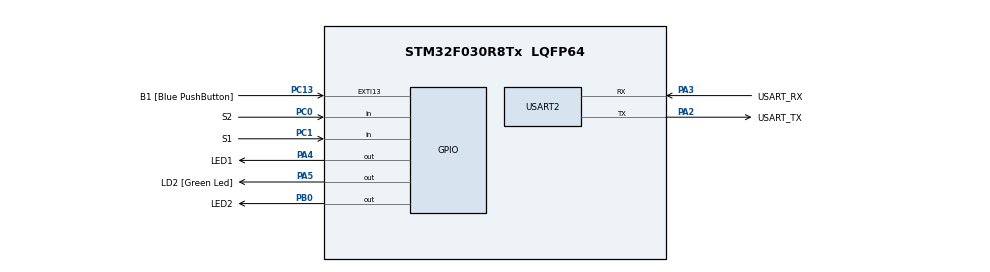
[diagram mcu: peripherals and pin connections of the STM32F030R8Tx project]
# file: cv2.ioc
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Mcu.Family=STM32F0
Mcu.Name=STM32F030R8Tx
Mcu.Package=LQFP64
PA13.GPIO_Label=TMS
PA13.Mode=Serial_Wire
PA13.Signal=SYS_SWDIO
PA14.GPIO_Label=TCK
PA14.Mode=Serial_Wire
PA14.Signal=SYS_SWCLK
PA2.GPIO_Label=USART_TX
PA2.GPIO_Mode=GPIO_MODE_AF_PP
PA2.GPIO_PuPd=GPIO_NOPULL
PA2.GPIO_Speed=GPIO_SPEED_FREQ_LOW
PA2.Mode=Asynchronous
PA2.Signal=USART2_TX
PA3.GPIO_Label=USART_RX
PA3.GPIO_Mode=GPIO_MODE_AF_PP
PA3.GPIO_PuPd=GPIO_NOPULL
PA3.GPIO_Speed=GPIO_SPEED_FREQ_LOW
PA3.Mode=Asynchronous
PA3.Signal=USART2_RX
PA4.GPIO_Label=LED1
PA4.Signal=GPIO_Output
PA5.GPIO_Label=LD2 [Green Led]
PA5.GPIO_Mode=GPIO_MODE_OUTPUT_PP
PA5.GPIO_PuPd=GPIO_NOPULL
PA5.GPIO_Speed=GPIO_SPEED_FREQ_LOW
PA5.Signal=GPIO_Output
PB0.GPIO_Label=LED2
PB0.Signal=GPIO_Output
PC0.GPIO_Label=S2
PC0.GPIO_PuPd=GPIO_PULLUP
PC0.Signal=GPIO_Input
PC1.GPIO_Label=S1
PC1.GPIO_PuPd=GPIO_PULLUP
PC1.Signal=GPIO_Input
PC13.GPIO_Label=B1 [Blue PushButton]
PC13.GPIO_ModeDefaultEXTI=GPIO_MODE_IT_FALLING
PC13.GPIO_PuPd=GPIO_PULLUP
PC13.Signal=GPXTI13
PC14-OSC32_IN.Mode=LSE-External-Oscillator
PC14-OSC32_IN.Signal=RCC_OSC32_IN
PC15-OSC32_OUT.Mode=LSE-External-Oscillator
PC15-OSC32_OUT.Signal=RCC_OSC32_OUT
PF0-OSC_IN.Mode=HSE-External-Clock-Source
PF0-OSC_IN.Signal=RCC_OSC_IN
PF1-OSC_OUT.Signal=RCC_OSC_OUT
ProjectManager.HeapSize=0x200
ProjectManager.StackSize=0x400
ProjectManager.TargetToolchain=STM32CubeIDE
RCC.AHBFreq_Value=48000000
RCC.APB1Freq_Value=48000000
RCC.APB1TimFreq_Value=48000000
RCC.HCLKFreq_Value=48000000
RCC.PLLMUL=RCC_PLL_MUL12
RCC.SYSCLKFreq_VALUE=48000000
RCC.SYSCLKSource=RCC_SYSCLKSOURCE_PLLCLK
USART2.VirtualMode-Asynchronous=VM_ASYNC
board=NUCLEO-F030R8

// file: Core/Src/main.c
/* USER CODE BEGIN Header */
/**
  ******************************************************************************
  * @file           : main.c
  * @brief          : Main program body
  ******************************************************************************
  * @attention
  *
  * Copyright (c) 2023 STMicroelectronics.
  * All rights reserved.
  *
  * This software is licensed under terms that can be found in the LICENSE file
  * in the root directory of this software component.
  * If no LICENSE file comes with this software, it is provided AS-IS.
  *
  ******************************************************************************
  */
/* USER CODE END Header */
#include "main.h"

/* USER CODE BEGIN PD */
#define LED_TIME_BLINK 300
#define LED_TIME_SHORT 100
#define LED_TIME_LONG 1000
/* USER CODE END PD */

void SystemClock_Config(void);
static void MX_GPIO_Init(void);
static void MX_USART2_UART_Init(void);

/* USER CODE BEGIN 0 */
volatile uint32_t Tick;
/* USER CODE END 0 */

int main(void)
{

  /* MCU Configuration--------------------------------------------------------*/

  /* Reset of all peripherals, Initializes the Flash interface and the Systick. */
  LL_APB1_GRP2_EnableClock(LL_APB1_GRP2_PERIPH_SYSCFG);
  LL_APB1_GRP1_EnableClock(LL_APB1_GRP1_PERIPH_PWR);

  /* Configure the system clock */
  SystemClock_Config();

  /* Initialize all configured peripherals */
  MX_GPIO_Init();
  MX_USART2_UART_Init();
  /* USER CODE BEGIN 2 */
  LL_SYSTICK_EnableIT();
  /* USER CODE END 2 */

  /* Infinite loop */
  /* USER CODE BEGIN WHILE */
  while (1)
  {

	  blikac();
	  tlacitko();
    /* USER CODE END WHILE */

  }
}

void SystemClock_Config(void)
{
  LL_FLASH_SetLatency(LL_FLASH_LATENCY_1);
  while(LL_FLASH_GetLatency() != LL_FLASH_LATENCY_1)
  {
  }
  LL_RCC_HSI_Enable();

   /* Wait till HSI is ready */
  while(LL_RCC_HSI_IsReady() != 1)
  {

  }
  LL_RCC_HSI_SetCalibTrimming(16);
  LL_RCC_PLL_ConfigDomain_SYS(LL_RCC_PLLSOURCE_HSI_DIV_2, LL_RCC_PLL_MUL_12);
  LL_RCC_PLL_Enable();

   /* Wait till PLL is ready */
  while(LL_RCC_PLL_IsReady() != 1)
  {

  }
  LL_RCC_SetAHBPrescaler(LL_RCC_SYSCLK_DIV_1);
  LL_RCC_SetAPB1Prescaler(LL_RCC_APB1_DIV_1);
  LL_RCC_SetSysClkSource(LL_RCC_SYS_CLKSOURCE_PLL);

   /* Wait till System clock is ready */
  while(LL_RCC_GetSysClkSource() != LL_RCC_SYS_CLKSOURCE_STATUS_PLL)
  {

  }
  LL_Init1msTick(48000000);
  LL_SetSystemCoreClock(48000000);
}

static void MX_USART2_UART_Init(void)
{

  LL_USART_InitTypeDef USART_InitStruct = {0};

  LL_GPIO_InitTypeDef GPIO_InitStruct = {0};

  /* Peripheral clock enable */
  LL_APB1_GRP1_EnableClock(LL_APB1_GRP1_PERIPH_USART2);

  LL_AHB1_GRP1_EnableClock(LL_AHB1_GRP1_PERIPH_GPIOA);
  /**USART2 GPIO Configuration
  PA2   ------> USART2_TX
  PA3   ------> USART2_RX
  */
  GPIO_InitStruct.Pin = USART_TX_Pin;
  GPIO_InitStruct.Mode = LL_GPIO_MODE_ALTERNATE;
  GPIO_InitStruct.Speed = LL_GPIO_SPEED_FREQ_LOW;
  GPIO_InitStruct.OutputType = LL_GPIO_OUTPUT_PUSHPULL;
  GPIO_InitStruct.Pull = LL_GPIO_PULL_NO;
  GPIO_InitStruct.Alternate = LL_GPIO_AF_1;
  LL_GPIO_Init(USART_TX_GPIO_Port, &GPIO_InitStruct);

  GPIO_InitStruct.Pin = USART_RX_Pin;
  GPIO_InitStruct.Mode = LL_GPIO_MODE_ALTERNATE;
  GPIO_InitStruct.Speed = LL_GPIO_SPEED_FREQ_LOW;
  GPIO_InitStruct.OutputType = LL_GPIO_OUTPUT_PUSHPULL;
  GPIO_InitStruct.Pull = LL_GPIO_PULL_NO;
  GPIO_InitStruct.Alternate = LL_GPIO_AF_1;
  LL_GPIO_Init(USART_RX_GPIO_Port, &GPIO_InitStruct);

  USART_InitStruct.BaudRate = 38400;
  USART_InitStruct.DataWidth = LL_USART_DATAWIDTH_8B;
  USART_InitStruct.StopBits = LL_USART_STOPBITS_1;
  USART_InitStruct.Parity = LL_USART_PARITY_NONE;
  USART_InitStruct.TransferDirection = LL_USART_DIRECTION_TX_RX;
  USART_InitStruct.HardwareFlowControl = LL_USART_HWCONTROL_NONE;
  USART_InitStruct.OverSampling = LL_USART_OVERSAMPLING_16;
  LL_USART_Init(USART2, &USART_InitStruct);
  LL_USART_DisableIT_CTS(USART2);
  LL_USART_ConfigAsyncMode(USART2);
  LL_USART_Enable(USART2);

}

static void MX_GPIO_Init(void)
{
  LL_EXTI_InitTypeDef EXTI_InitStruct = {0};
  LL_GPIO_InitTypeDef GPIO_InitStruct = {0};

  /* GPIO Ports Clock Enable */
  LL_AHB1_GRP1_EnableClock(LL_AHB1_GRP1_PERIPH_GPIOC);
  LL_AHB1_GRP1_EnableClock(LL_AHB1_GRP1_PERIPH_GPIOF);
  LL_AHB1_GRP1_EnableClock(LL_AHB1_GRP1_PERIPH_GPIOA);
  LL_AHB1_GRP1_EnableClock(LL_AHB1_GRP1_PERIPH_GPIOB);

  /**/
  LL_GPIO_ResetOutputPin(LED1_GPIO_Port, LED1_Pin);

  /**/
  LL_GPIO_ResetOutputPin(LD2_GPIO_Port, LD2_Pin);

  /**/
  LL_GPIO_ResetOutputPin(LED2_GPIO_Port, LED2_Pin);

  /**/
  LL_SYSCFG_SetEXTISource(LL_SYSCFG_EXTI_PORTC, LL_SYSCFG_EXTI_LINE13);

  /**/
  LL_GPIO_SetPinPull(B1_GPIO_Port, B1_Pin, LL_GPIO_PULL_UP);

  /**/
  LL_GPIO_SetPinMode(B1_GPIO_Port, B1_Pin, LL_GPIO_MODE_INPUT);

  /**/
  EXTI_InitStruct.Line_0_31 = LL_EXTI_LINE_13;
  EXTI_InitStruct.LineCommand = ENABLE;
  EXTI_InitStruct.Mode = LL_EXTI_MODE_IT;
  EXTI_InitStruct.Trigger = LL_EXTI_TRIGGER_FALLING;
  LL_EXTI_Init(&EXTI_InitStruct);

  /**/
  GPIO_InitStruct.Pin = S2_Pin;
  GPIO_InitStruct.Mode = LL_GPIO_MODE_INPUT;
  GPIO_InitStruct.Pull = LL_GPIO_PULL_UP;
  LL_GPIO_Init(S2_GPIO_Port, &GPIO_InitStruct);

  /**/
  GPIO_InitStruct.Pin = S1_Pin;
  GPIO_InitStruct.Mode = LL_GPIO_MODE_INPUT;
  GPIO_InitStruct.Pull = LL_GPIO_PULL_UP;
  LL_GPIO_Init(S1_GPIO_Port, &GPIO_InitStruct);

  /**/
  GPIO_InitStruct.Pin = LED1_Pin;
  GPIO_InitStruct.Mode = LL_GPIO_MODE_OUTPUT;
  GPIO_InitStruct.Speed = LL_GPIO_SPEED_FREQ_LOW;
  GPIO_InitStruct.OutputType = LL_GPIO_OUTPUT_PUSHPULL;
  GPIO_InitStruct.Pull = LL_GPIO_PULL_NO;
  LL_GPIO_Init(LED1_GPIO_Port, &GPIO_InitStruct);

  /**/
  GPIO_InitStruct.Pin = LD2_Pin;
  GPIO_InitStruct.Mode = LL_GPIO_MODE_OUTPUT;
  GPIO_InitStruct.Speed = LL_GPIO_SPEED_FREQ_LOW;
  GPIO_InitStruct.OutputType = LL_GPIO_OUTPUT_PUSHPULL;
  GPIO_InitStruct.Pull = LL_GPIO_PULL_NO;
  LL_GPIO_Init(LD2_GPIO_Port, &GPIO_InitStruct);

  /**/
  GPIO_InitStruct.Pin = LED2_Pin;
  GPIO_InitStruct.Mode = LL_GPIO_MODE_OUTPUT;
  GPIO_InitStruct.Speed = LL_GPIO_SPEED_FREQ_LOW;
  GPIO_InitStruct.OutputType = LL_GPIO_OUTPUT_PUSHPULL;
  GPIO_InitStruct.Pull = LL_GPIO_PULL_NO;
  LL_GPIO_Init(LED2_GPIO_Port, &GPIO_InitStruct);

}

/* USER CODE BEGIN 4 */
void blikac(void)
{
	static uint32_t delay;

	if(Tick > delay + LED_TIME_BLINK)
	{
		LL_GPIO_TogglePin(LED1_GPIO_Port, LED1_Pin);
		delay = Tick;
	}
}
void tlacitko(void)
{
	static uint32_t delay;
	static uint32_t old_s2;
	static uint32_t old_s1;
	static uint32_t off_time;
	uint32_t new_s2 = LL_GPIO_IsInputPinSet(S2_GPIO_Port, S2_Pin);
	uint32_t new_s1 = LL_GPIO_IsInputPinSet(S1_GPIO_Port, S1_Pin);
	if(Tick > delay + 40)
	{
		if (old_s2 && !new_s2) { // falling edge
			off_time = Tick + LED_TIME_SHORT;
			LL_GPIO_SetOutputPin(LED2_GPIO_Port, LED2_Pin);
		}
		old_s2 = new_s2;

		if (Tick > off_time) {
			LL_GPIO_ResetOutputPin(LED2_GPIO_Port, LED2_Pin);
		}

		if (old_s1 && !new_s1) { // falling edge
			off_time = Tick + LED_TIME_LONG;
			LL_GPIO_SetOutputPin(LED2_GPIO_Port, LED2_Pin);
		}
		old_s1
		= new_s1;

		if (Tick > off_time) {
			LL_GPIO_ResetOutputPin(LED2_GPIO_Port, LED2_Pin);
		}
		delay = Tick;
	}

}
/* USER CODE END 4 */

void Error_Handler(void)
{
  __disable_irq();
  while (1)
  {
  }
}
